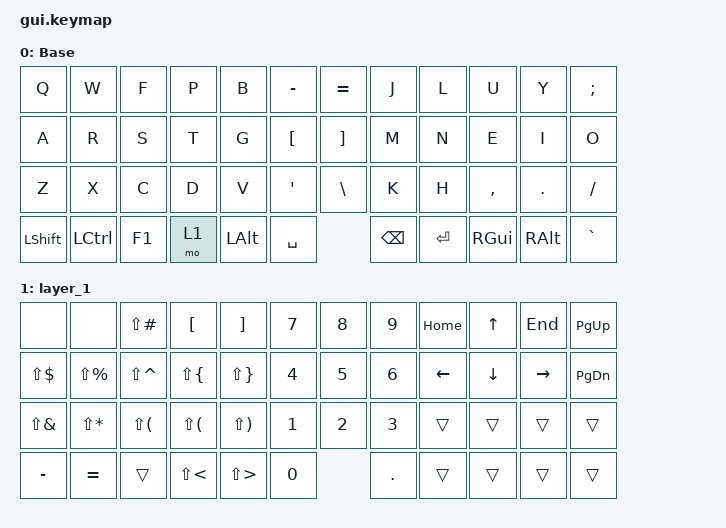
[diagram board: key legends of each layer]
/*
 * Copyright (c) 2022 Pete Johanson
 *
 * SPDX-License-Identifier: MIT
 */

#include <behaviors.dtsi>
#include <dt-bindings/zmk/bt.h>
#include <dt-bindings/zmk/keys.h>

/ {
    combos {
        compatible = "zmk,combos";

        return {
            bindings = <&kp RET>;
            key-positions = <20 21>;
        };

        esc {
            bindings = <&kp ESCAPE>;
            key-positions = <14 15>;
        };

        bs {
            bindings = <&kp BACKSPACE>;
            key-positions = <8 9>;
        };

        bootloader {
            bindings = <&bootloader>;
            key-positions = <0 11 46>;
        };

        reset {
            bindings = <&sys_reset>;
            key-positions = <0 36 46>;
        };

        bt0 {
            bindings = <&bt BT_SEL 0>;
            key-positions = <36 46 42>;
        };

        bt1 {
            bindings = <&bt BT_SEL 1>;
            key-positions = <36 43 46>;
        };

        btclrall {
            bindings = <&bt BT_CLR_ALL>;
            key-positions = <42 43 44 45 36>;
        };

        tab {
            bindings = <&kp TAB>;
            key-positions = <2 3>;
        };
    };

    keymap {
        compatible = "zmk,keymap";

        base_layer {
            label = "Base";
            bindings = <
&kp Q      &kp W      &kp F   &kp P  &kp B     &kp MINUS  &kp EQUAL  &kp J     &kp L      &kp U      &kp Y     &kp SEMI
&kp A      &kp R      &kp S   &kp T  &kp G     &kp LBKT   &kp RBKT   &kp M     &kp N      &kp E      &kp I     &kp O
&kp Z      &kp X      &kp C   &kp D  &kp V     &kp APOS   &kp BSLH   &kp K     &kp H      &kp COMMA  &kp DOT   &kp FSLH
&kp LSHFT  &kp LCTRL  &kp F1  &mo 1  &kp LALT  &kp SPACE             &kp BSPC  &kp ENTER  &kp RGUI   &kp RALT  &kp GRAVE
            >;
        };

        layer_1 {
            bindings = <
&none         &none          &kp LS(POUND)  &kp LBKT      &kp RBKT      &kp N7  &kp N8  &kp N9   &kp HOME  &kp UP    &kp END    &kp PG_UP
&kp LS(DLLR)  &kp LS(PRCNT)  &kp LS(CARET)  &kp LS(LBRC)  &kp LS(RBRC)  &kp N4  &kp N5  &kp N6   &kp LEFT  &kp DOWN  &kp RIGHT  &kp PG_DN
&kp LS(AMPS)  &kp LS(STAR)   &kp LS(LPAR)   &kp LS(LPAR)  &kp LS(RPAR)  &kp N1  &kp N2  &kp N3   &trans    &trans    &trans     &trans
&kp MINUS     &kp EQUAL      &trans         &kp LS(LT)    &kp LS(GT)    &kp N0          &kp DOT  &trans    &trans    &trans     &trans
            >;
        };
    };
};
